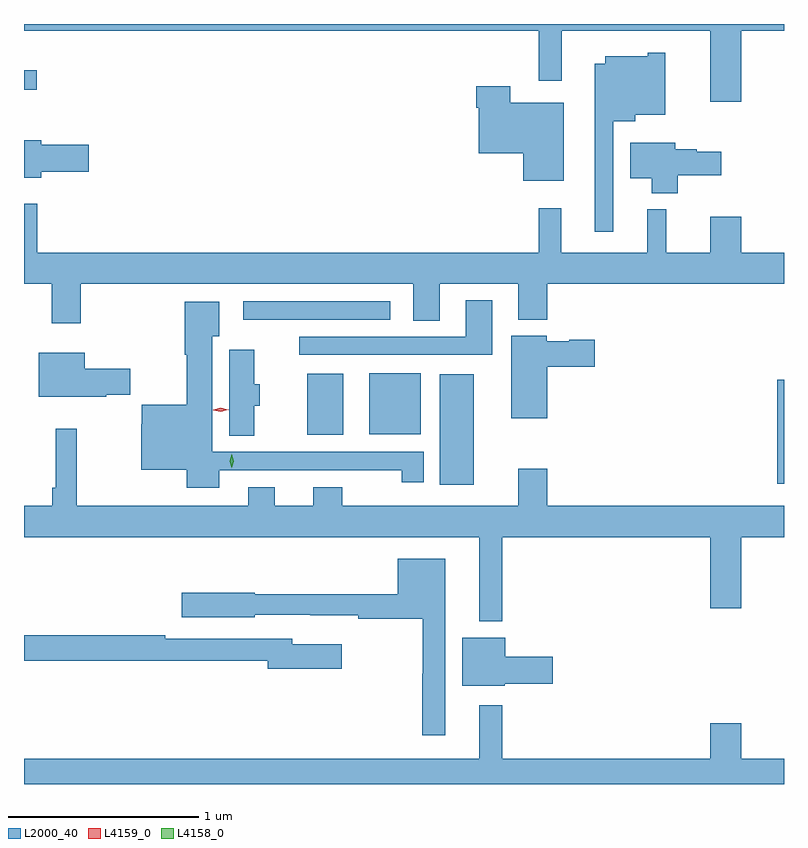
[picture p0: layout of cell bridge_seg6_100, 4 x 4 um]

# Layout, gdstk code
import gdstk
lib = gdstk.Library(unit=1e-6, precision=1e-09)
def R(c, l, rs):  # rectangles x0, y0, x1, y1
    for r in rs: c.add(gdstk.rectangle(r[:2], r[2:], *l))
def P(c, l, *ps):  # polygons
    for p in ps: c.add(gdstk.Polygon(p, *l))
L2000_40 = (2000, 40)
L4158_0 = (4158, 0)
L4159_0 = (4159, 0)

bridge_seg6_100 = lib.new_cell('bridge_seg6_100')
R(bridge_seg6_100, L2000_40, [(391.358,943.616,391.537,944.197), (393.134,943.619,393.169,944.167), (390.659,943.877,390.85,944.2), (390.986,943.88,391.258,944.203), (390.324,944.484,391.096,944.58), (389.169,945.694,389.236,945.797)])
P(bridge_seg6_100, L2000_40, [(392.944,946.004),(393.169,946.004),(393.169,946.04),(389.169,946.04),(389.169,946.004),(391.879,946.004),(391.879,945.741),(391.998,945.741),(391.998,946.004),(392.78,946.004),(392.78,945.63),(392.944,945.63)],
  [(392.271,945.527),(392.386,945.527),(392.386,945.563),(392.545,945.563),(392.545,945.889),(392.451,945.889),(392.451,945.871),(392.228,945.871),(392.228,945.832),(392.174,945.832),(392.174,944.946),(392.271,944.946)],
  [(392.011,945.625),(391.728,945.625),(391.728,945.712),(391.55,945.712),(391.55,945.599),(391.562,945.599),(391.562,945.359),(391.796,945.359),(391.796,945.215),(392.011,945.215)],
  [(389.26,945.262),(389.509,945.262),(389.509,945.404),(389.26,945.404),(389.26,945.427),(389.169,945.427),(389.169,945.23),(389.26,945.23)],
  [(392.609,945.245),(392.839,945.245),(392.839,945.367),(392.709,945.367),(392.709,945.38),(392.596,945.38),(392.596,945.415),(392.36,945.415),(392.36,945.227),(392.474,945.227),(392.474,945.149),(392.609,945.149)],
  [(389.468,944.672),(391.217,944.672),(391.217,944.479),(391.357,944.479),(391.357,944.672),(391.769,944.672),(391.769,944.483),(391.922,944.483),(391.922,944.672),(393.169,944.672),(393.169,944.836),(392.944,944.836),(392.944,945.025),(392.78,945.025),(392.78,944.836),(392.55,944.836),(392.55,945.064),(392.45,945.064),(392.45,944.836),(391.997,944.836),(391.997,945.07),(391.879,945.07),(391.879,944.836),(389.24,944.836),(389.24,945.094),(389.169,945.094),(389.169,944.672),(389.315,944.672),(389.315,944.466),(389.468,944.466)],
  [(391.633,944.587),(391.493,944.587),(391.493,944.394),(390.618,944.394),(390.618,944.298),(391.633,944.298)],
  [(390.196,943.692),(390.928,943.692),(390.928,943.691),(391.156,943.691),(391.156,943.629),(391.273,943.629),(391.273,943.788),(390.16,943.788),(390.16,944.396),(390.196,944.396),(390.196,944.578),(390.014,944.578),(390.014,944.3),(390.026,944.3),(390.026,944.035),(389.79,944.035),(389.79,943.934),(389.786,943.934),(389.786,943.694),(390.026,943.694),(390.026,943.598),(390.196,943.598)],
  [(391.924,944.237),(392.173,944.237),(392.173,944.379),(392.04,944.379),(392.04,944.371),(391.92,944.371),(391.92,944.398),(391.733,944.398),(391.733,943.964),(391.924,943.964)],
  [(390.382,944.031),(390.409,944.031),(390.409,944.145),(390.382,944.145),(390.382,944.326),(390.248,944.326),(390.248,943.873),(390.382,943.873)],
  [(389.601,944.089),(389.729,944.089),(389.729,944.226),(389.488,944.226),(389.488,944.311),(389.246,944.311),(389.246,944.078),(389.601,944.078)],
  [(391.687,943.34),(392.78,943.34),(392.78,942.966),(392.944,942.966),(392.944,943.34),(393.169,943.34),(393.169,943.504),(391.922,943.504),(391.922,943.699),(391.769,943.699),(391.769,943.504),(390.845,943.504),(390.845,943.603),(390.692,943.603),(390.692,943.504),(390.49,943.504),(390.49,943.603),(390.35,943.603),(390.35,943.504),(389.446,943.504),(389.446,943.909),(389.335,943.909),(389.335,943.6),(389.317,943.6),(389.317,943.504),(389.169,943.504),(389.169,943.34),(391.565,943.34),(391.565,942.896),(391.687,942.896)],
  [(391.387,943.225),(391.136,943.225),(391.136,943.039),(390.384,943.039),(390.384,943.047),(390,943.047),(390,942.917),(390.384,942.917),(390.384,942.93),(390.676,942.93),(390.676,942.929),(390.928,942.929),(390.928,942.91),(391.268,942.91),(391.268,942.621),(391.266,942.621),(391.266,942.297),(391.387,942.297)],
  [(390.841,942.775),(390.58,942.775),(390.58,942.804),(389.912,942.804),(389.912,942.824),(389.169,942.824),(389.169,942.688),(390.452,942.688),(390.452,942.646),(390.841,942.646)],
  [(391.698,942.568),(391.951,942.568),(391.951,942.71),(391.702,942.71),(391.702,942.811),(391.475,942.811),(391.475,942.557),(391.698,942.557)],
  [(393.169,942.172),(392.944,942.172),(392.944,942.361),(392.78,942.361),(392.78,942.172),(391.687,942.172),(391.687,942.454),(391.565,942.454),(391.565,942.172),(389.169,942.172),(389.169,942.04),(393.169,942.04)])
P(bridge_seg6_100, L4158_0, [(390.262,943.704),(390.262,943.704),(390.253,943.74),(390.263,943.775),(390.263,943.776),(390.263,943.775),(390.273,943.74),(390.263,943.704)])
P(bridge_seg6_100, L4159_0, [(390.205,943.999),(390.165,944.008),(390.164,944.009),(390.165,944.009),(390.205,944.019),(390.245,944.01),(390.246,944.01),(390.245,944.01)])

lib.write_gds('bridge_seg6_100.gds')
